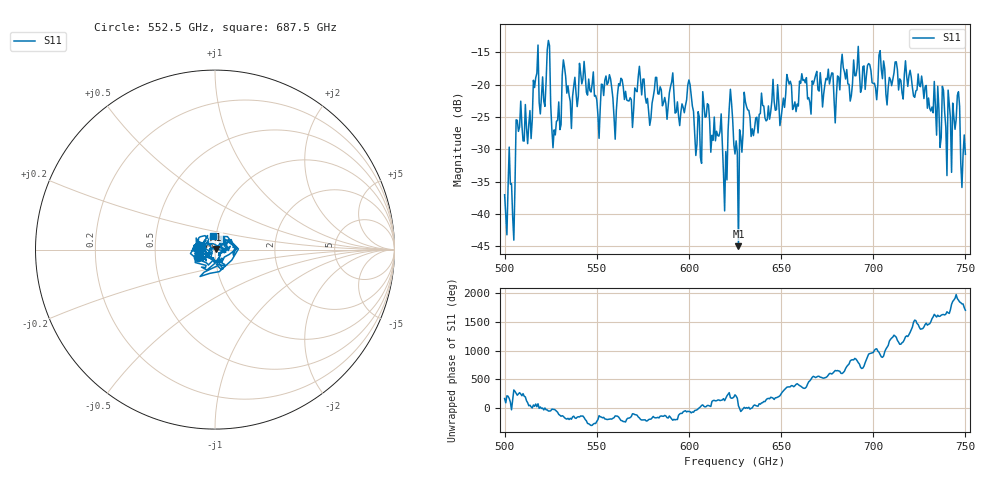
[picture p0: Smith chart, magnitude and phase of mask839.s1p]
!Created with skrf (http://scikit-rf.org).
# GHz S MA R 50.0
!freq magS11 angS11
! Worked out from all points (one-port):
!   401 points, 500 GHz to 750 GHz, reference 50 ohm
!   lowest |S11| = -45.0 dB at 626.9 GHz (marker M1), VSWR 1.01, Z = 50.4 + j0.353 ohm
!   |S11| at or under -10 dB: start of sweep to end of sweep
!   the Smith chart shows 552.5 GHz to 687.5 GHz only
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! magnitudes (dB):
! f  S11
! 500 GHz  -37.0
! 504.4 GHz  -40.5
! 507.5 GHz  -27.2
! 513.8 GHz  -24.0
! 516.9 GHz  -19.0
! 520.6 GHz  -18.8
! 523.8 GHz  -13.2
! 526.9 GHz  -27.0
! 531.2 GHz  -18.5
! 550.6 GHz  -24.7
! 556.2 GHz  -19.7
! 560 GHz  -28.5
! 562.5 GHz  -20.2
! 593.8 GHz  -22.7
! 600.6 GHz  -20.0
! 605.6 GHz  -25.0
! 608.8 GHz  -25.1
! 619.4 GHz  -39.5
! 622.5 GHz  -20.7
! 625 GHz  -30.7
! 626.9 GHz  -45.0
! 631.2 GHz  -23.4
! 656.2 GHz  -23.9
! 687.5 GHz  -22.6
! 718.8 GHz  -20.3
! 741.2 GHz  -23.1
! 745.6 GHz  -21.7
! 750 GHz  -30.8
